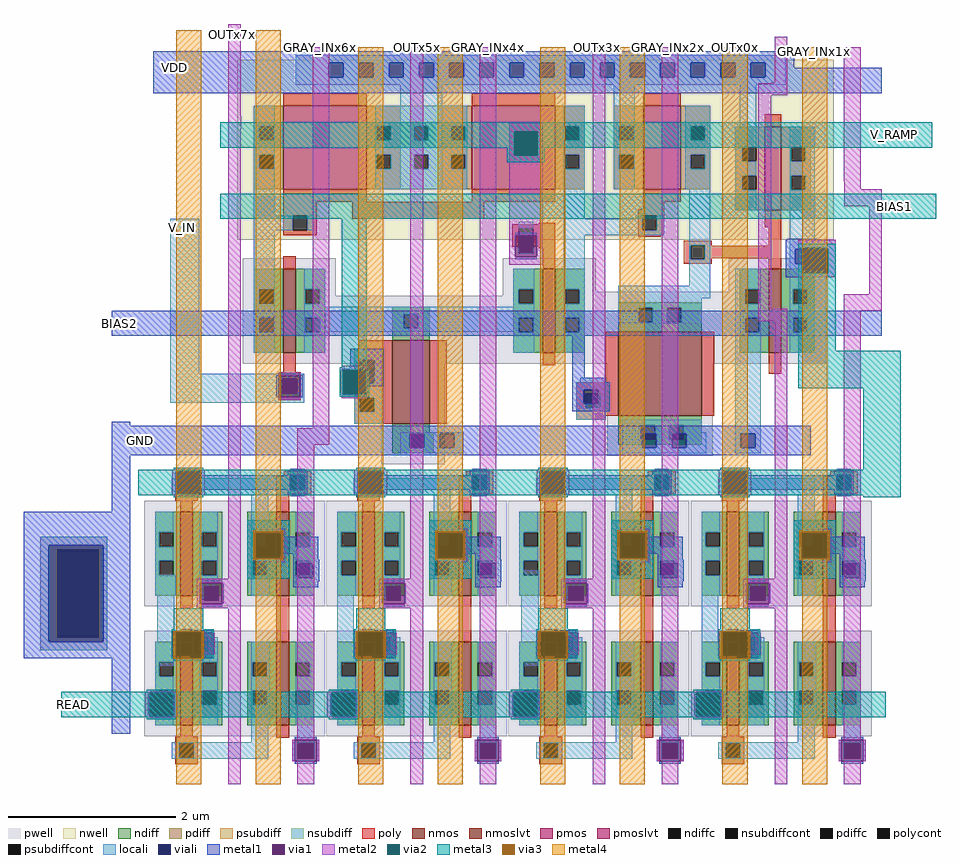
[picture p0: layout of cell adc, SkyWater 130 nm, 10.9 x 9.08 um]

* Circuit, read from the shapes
.subckt adc V_IN BIAS2 GND BIAS1 VDD V_RAMP GRAY_INx1x GRAY_INx0x OUTx1x OUTx0x GRAY_INx2x GRAY_INx3x OUTx3x OUTx2x GRAY_INx4x GRAY_INx5x OUTx5x OUTx4x GRAY_INx6x GRAY_INx7x OUTx7x OUTx6x READ
XM1 OUTx6x 8bit_dram_0/4bit_dram_1/dram_array_1/dram_cell_0/storage READ GND sky130_fd_pr__nfet_01v8 w=1 l=0.15
XM2 OUTx7x 8bit_dram_0/4bit_dram_1/dram_array_1/dram_cell_1/storage READ GND sky130_fd_pr__nfet_01v8 w=1 l=0.15
XM3 GRAY_INx6x 8bit_dram_0/4bit_dram_0/dram_array_0/dram_cell_0/WWL 8bit_dram_0/4bit_dram_1/dram_array_1/dram_cell_0/storage GND sky130_fd_pr__nfet_01v8 w=1 l=0.15
XM4 GRAY_INx7x 8bit_dram_0/4bit_dram_0/dram_array_0/dram_cell_0/WWL 8bit_dram_0/4bit_dram_1/dram_array_1/dram_cell_1/storage GND sky130_fd_pr__nfet_01v8 w=1 l=0.15
XM5 n1 V_IN n2 GND sky130_fd_pr__nfet_01v8_lvt w=1 l=0.15
XM6 OUTx4x 8bit_dram_0/4bit_dram_1/dram_array_0/dram_cell_0/storage READ GND sky130_fd_pr__nfet_01v8 w=1 l=0.15
XM7 OUTx5x 8bit_dram_0/4bit_dram_1/dram_array_0/dram_cell_1/storage READ GND sky130_fd_pr__nfet_01v8 w=1 l=0.15
XM8 n1 BIAS1 GND GND sky130_fd_pr__nfet_01v8 w=0.45 l=1
XM9 GRAY_INx4x 8bit_dram_0/4bit_dram_0/dram_array_0/dram_cell_0/WWL 8bit_dram_0/4bit_dram_1/dram_array_0/dram_cell_0/storage GND sky130_fd_pr__nfet_01v8 w=1 l=0.15
XM10 GRAY_INx5x 8bit_dram_0/4bit_dram_0/dram_array_0/dram_cell_0/WWL 8bit_dram_0/4bit_dram_1/dram_array_0/dram_cell_1/storage GND sky130_fd_pr__nfet_01v8 w=1 l=0.15
XM11 n3 V_RAMP n1 GND sky130_fd_pr__nfet_01v8_lvt w=1 l=0.15
XM12 OUTx2x 8bit_dram_0/4bit_dram_0/dram_array_1/dram_cell_0/storage READ GND sky130_fd_pr__nfet_01v8 w=1 l=0.15
XM13 OUTx3x 8bit_dram_0/4bit_dram_0/dram_array_1/dram_cell_1/storage READ GND sky130_fd_pr__nfet_01v8 w=1 l=0.15
XM14 n4 BIAS2 GND GND sky130_fd_pr__nfet_01v8_lvt w=1 l=1
XM15 GRAY_INx2x 8bit_dram_0/4bit_dram_0/dram_array_0/dram_cell_0/WWL 8bit_dram_0/4bit_dram_0/dram_array_1/dram_cell_0/storage GND sky130_fd_pr__nfet_01v8 w=1 l=0.15
XM16 GRAY_INx3x 8bit_dram_0/4bit_dram_0/dram_array_0/dram_cell_0/WWL 8bit_dram_0/4bit_dram_0/dram_array_1/dram_cell_1/storage GND sky130_fd_pr__nfet_01v8 w=1 l=0.15
XM17 OUTx0x 8bit_dram_0/4bit_dram_0/dram_array_0/dram_cell_0/storage READ GND sky130_fd_pr__nfet_01v8 w=1 l=0.15
XM18 OUTx1x 8bit_dram_0/4bit_dram_0/dram_array_0/dram_cell_1/storage READ GND sky130_fd_pr__nfet_01v8 w=1 l=0.15
XM19 8bit_dram_0/4bit_dram_0/dram_array_0/dram_cell_0/WWL n4 GND GND sky130_fd_pr__nfet_01v8 w=1 l=0.15
XM20 GRAY_INx0x 8bit_dram_0/4bit_dram_0/dram_array_0/dram_cell_0/WWL 8bit_dram_0/4bit_dram_0/dram_array_0/dram_cell_0/storage GND sky130_fd_pr__nfet_01v8 w=1 l=0.15
XM21 GRAY_INx1x 8bit_dram_0/4bit_dram_0/dram_array_0/dram_cell_0/WWL 8bit_dram_0/4bit_dram_0/dram_array_0/dram_cell_1/storage GND sky130_fd_pr__nfet_01v8 w=1 l=0.15
XM22 VDD n2 n2 VDD sky130_fd_pr__pfet_01v8_lvt w=1 l=1
XM23 n3 n2 VDD VDD sky130_fd_pr__pfet_01v8_lvt w=1 l=1
XM24 n4 n3 VDD VDD sky130_fd_pr__pfet_01v8_lvt w=1 l=0.45
XM25 8bit_dram_0/4bit_dram_0/dram_array_0/dram_cell_0/WWL n4 VDD VDD sky130_fd_pr__pfet_01v8 w=1 l=0.2
.ends

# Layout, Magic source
magic
tech sky130B
magscale 1 2
<< nwell >>
rect 960 -1180 2385 -750
<< pwell >>
rect 974 -1314 1196 -1224
rect 1594 -1304 1816 -1224
rect 2134 -1304 2366 -1224
rect 1594 -1314 2366 -1304
rect 974 -1476 2366 -1314
rect 1304 -1716 1456 -1476
rect 1844 -1696 2096 -1476
<< nmos >>
rect 1330 -1620 1420 -1420
rect 2230 -1450 2260 -1250
<< pmos >>
rect 2220 -1110 2260 -910
<< pmoslvt >>
rect 1070 -1060 1270 -860
rect 1520 -1060 1720 -860
rect 1930 -1060 2020 -860
<< nmoslvt >>
rect 1070 -1450 1100 -1250
rect 1690 -1450 1720 -1250
rect 1870 -1600 2070 -1400
<< ndiff >>
rect 1000 -1299 1070 -1250
rect 1000 -1333 1013 -1299
rect 1047 -1333 1070 -1299
rect 1000 -1367 1070 -1333
rect 1000 -1401 1013 -1367
rect 1047 -1401 1070 -1367
rect 1000 -1450 1070 -1401
rect 1100 -1299 1170 -1250
rect 1100 -1333 1123 -1299
rect 1157 -1333 1170 -1299
rect 1100 -1367 1170 -1333
rect 1620 -1299 1690 -1250
rect 1620 -1333 1633 -1299
rect 1667 -1333 1690 -1299
rect 1100 -1401 1123 -1367
rect 1157 -1401 1170 -1367
rect 1100 -1450 1170 -1401
rect 1330 -1358 1420 -1340
rect 1330 -1392 1358 -1358
rect 1392 -1392 1420 -1358
rect 1330 -1420 1420 -1392
rect 1620 -1367 1690 -1333
rect 1620 -1401 1633 -1367
rect 1667 -1401 1690 -1367
rect 1620 -1450 1690 -1401
rect 1720 -1299 1790 -1250
rect 1720 -1333 1743 -1299
rect 1777 -1333 1790 -1299
rect 2160 -1299 2230 -1250
rect 1720 -1367 1790 -1333
rect 1720 -1401 1743 -1367
rect 1777 -1401 1790 -1367
rect 1870 -1343 2070 -1330
rect 1870 -1377 1919 -1343
rect 1953 -1377 1987 -1343
rect 2021 -1377 2070 -1343
rect 1870 -1400 2070 -1377
rect 2160 -1333 2173 -1299
rect 2207 -1333 2230 -1299
rect 2160 -1367 2230 -1333
rect 1720 -1450 1790 -1401
rect 2160 -1401 2173 -1367
rect 2207 -1401 2230 -1367
rect 2160 -1450 2230 -1401
rect 2260 -1299 2340 -1250
rect 2260 -1333 2288 -1299
rect 2322 -1333 2340 -1299
rect 2260 -1367 2340 -1333
rect 2260 -1401 2288 -1367
rect 2322 -1401 2340 -1367
rect 2260 -1450 2340 -1401
rect 1330 -1640 1420 -1620
rect 1870 -1623 2070 -1600
rect 1330 -1643 1430 -1640
rect 1330 -1677 1373 -1643
rect 1407 -1677 1430 -1643
rect 1870 -1657 1924 -1623
rect 1958 -1657 1992 -1623
rect 2026 -1657 2070 -1623
rect 1870 -1670 2070 -1657
rect 1330 -1690 1430 -1677
<< pdiff >>
rect 1000 -909 1070 -860
rect 1000 -943 1013 -909
rect 1047 -943 1070 -909
rect 1000 -977 1070 -943
rect 1000 -1011 1013 -977
rect 1047 -1011 1070 -977
rect 1000 -1060 1070 -1011
rect 1270 -909 1350 -860
rect 1450 -909 1520 -860
rect 1270 -943 1293 -909
rect 1327 -943 1350 -909
rect 1450 -943 1471 -909
rect 1505 -943 1520 -909
rect 1270 -977 1350 -943
rect 1450 -977 1520 -943
rect 1270 -1011 1293 -977
rect 1327 -1011 1350 -977
rect 1450 -1011 1471 -977
rect 1505 -1011 1520 -977
rect 1270 -1060 1350 -1011
rect 1450 -1060 1520 -1011
rect 1720 -909 1790 -860
rect 1720 -943 1743 -909
rect 1777 -943 1790 -909
rect 1720 -977 1790 -943
rect 1720 -1011 1743 -977
rect 1777 -1011 1790 -977
rect 1720 -1060 1790 -1011
rect 1860 -909 1930 -860
rect 1860 -943 1873 -909
rect 1907 -943 1930 -909
rect 1860 -977 1930 -943
rect 1860 -1011 1873 -977
rect 1907 -1011 1930 -977
rect 1860 -1060 1930 -1011
rect 2020 -909 2090 -860
rect 2020 -943 2043 -909
rect 2077 -943 2090 -909
rect 2020 -977 2090 -943
rect 2020 -1011 2043 -977
rect 2077 -1011 2090 -977
rect 2020 -1060 2090 -1011
rect 2150 -959 2220 -910
rect 2150 -993 2166 -959
rect 2200 -993 2220 -959
rect 2150 -1027 2220 -993
rect 2150 -1061 2166 -1027
rect 2200 -1061 2220 -1027
rect 2150 -1110 2220 -1061
rect 2260 -959 2330 -910
rect 2260 -993 2283 -959
rect 2317 -993 2330 -959
rect 2260 -1027 2330 -993
rect 2260 -1061 2283 -1027
rect 2317 -1061 2330 -1027
rect 2260 -1110 2330 -1061
<< ndiffc >>
rect 1013 -1333 1047 -1299
rect 1013 -1401 1047 -1367
rect 1123 -1333 1157 -1299
rect 1633 -1333 1667 -1299
rect 1123 -1401 1157 -1367
rect 1358 -1392 1392 -1358
rect 1633 -1401 1667 -1367
rect 1743 -1333 1777 -1299
rect 1743 -1401 1777 -1367
rect 1919 -1377 1953 -1343
rect 1987 -1377 2021 -1343
rect 2173 -1333 2207 -1299
rect 2173 -1401 2207 -1367
rect 2288 -1333 2322 -1299
rect 2288 -1401 2322 -1367
rect 1373 -1677 1407 -1643
rect 1924 -1657 1958 -1623
rect 1992 -1657 2026 -1623
<< pdiffc >>
rect 1013 -943 1047 -909
rect 1013 -1011 1047 -977
rect 1293 -943 1327 -909
rect 1471 -943 1505 -909
rect 1293 -1011 1327 -977
rect 1471 -1011 1505 -977
rect 1743 -943 1777 -909
rect 1743 -1011 1777 -977
rect 1873 -943 1907 -909
rect 1873 -1011 1907 -977
rect 2043 -943 2077 -909
rect 2043 -1011 2077 -977
rect 2166 -993 2200 -959
rect 2166 -1061 2200 -1027
rect 2283 -993 2317 -959
rect 2283 -1061 2317 -1027
<< psubdiff >>
rect 490 -1920 650 -1890
rect 490 -2130 530 -1920
rect 630 -2130 650 -1920
rect 490 -2160 650 -2130
<< nsubdiff >>
rect 1350 -909 1450 -860
rect 1350 -943 1383 -909
rect 1417 -943 1450 -909
rect 1350 -977 1450 -943
rect 1350 -1011 1383 -977
rect 1417 -1011 1450 -977
rect 1350 -1060 1450 -1011
<< psubdiffcont >>
rect 530 -2130 630 -1920
<< nsubdiffcont >>
rect 1383 -943 1417 -909
rect 1383 -1011 1417 -977
<< poly >>
rect 1070 -860 1270 -830
rect 1520 -860 1720 -830
rect 1930 -860 2020 -830
rect 2220 -910 2260 -880
rect 1070 -1090 1270 -1060
rect 1520 -1090 1720 -1060
rect 1930 -1090 2020 -1060
rect 1070 -1123 1150 -1090
rect 1070 -1157 1093 -1123
rect 1127 -1157 1150 -1123
rect 1235 -1130 1550 -1090
rect 1930 -1107 1980 -1090
rect 1918 -1123 1980 -1107
rect 1680 -1143 1720 -1140
rect 1070 -1170 1150 -1157
rect 1617 -1153 1720 -1143
rect 1617 -1187 1633 -1153
rect 1667 -1187 1720 -1153
rect 1918 -1157 1928 -1123
rect 1962 -1157 1980 -1123
rect 2220 -1150 2260 -1110
rect 1918 -1170 1980 -1157
rect 1918 -1173 1972 -1170
rect 1617 -1197 1720 -1187
rect 1680 -1200 1720 -1197
rect 1070 -1250 1100 -1220
rect 1690 -1250 1720 -1200
rect 2027 -1193 2093 -1183
rect 2027 -1227 2043 -1193
rect 2077 -1195 2093 -1193
rect 2230 -1195 2260 -1150
rect 2077 -1225 2260 -1195
rect 2077 -1227 2093 -1225
rect 2027 -1237 2093 -1227
rect 2230 -1250 2260 -1225
rect 1250 -1440 1330 -1420
rect 1070 -1497 1100 -1450
rect 1240 -1489 1330 -1440
rect 1058 -1513 1112 -1497
rect 1058 -1547 1068 -1513
rect 1102 -1547 1112 -1513
rect 1058 -1563 1112 -1547
rect 1240 -1523 1253 -1489
rect 1287 -1523 1330 -1489
rect 1240 -1557 1330 -1523
rect 1240 -1591 1253 -1557
rect 1287 -1591 1330 -1557
rect 1240 -1620 1330 -1591
rect 1420 -1620 1460 -1420
rect 1690 -1480 1720 -1450
rect 1840 -1520 1870 -1400
rect 1770 -1548 1870 -1520
rect 1770 -1582 1793 -1548
rect 1827 -1582 1870 -1548
rect 1770 -1600 1870 -1582
rect 2070 -1600 2100 -1400
rect 2230 -1500 2260 -1450
rect 1770 -1610 1840 -1600
<< polycont >>
rect 1093 -1157 1127 -1123
rect 1633 -1187 1667 -1153
rect 1928 -1157 1962 -1123
rect 2043 -1227 2077 -1193
rect 1068 -1547 1102 -1513
rect 1253 -1523 1287 -1489
rect 1253 -1591 1287 -1557
rect 1793 -1582 1827 -1548
<< locali >>
rect 1350 -740 1450 -730
rect 1100 -758 2270 -740
rect 1100 -792 1179 -758
rect 1213 -792 1251 -758
rect 1285 -792 1323 -758
rect 1357 -792 1395 -758
rect 1429 -792 1467 -758
rect 1501 -792 1539 -758
rect 1573 -792 1611 -758
rect 1645 -792 1683 -758
rect 1717 -792 1755 -758
rect 1789 -792 1827 -758
rect 1861 -792 1899 -758
rect 1933 -792 1971 -758
rect 2005 -792 2043 -758
rect 2077 -792 2115 -758
rect 2149 -792 2187 -758
rect 2221 -792 2270 -758
rect 1100 -810 2270 -792
rect 1350 -860 1450 -810
rect 1000 -909 1050 -860
rect 1000 -943 1013 -909
rect 1047 -943 1050 -909
rect 1000 -977 1050 -943
rect 1000 -1011 1013 -977
rect 1047 -1011 1050 -977
rect 1000 -1123 1050 -1011
rect 1290 -909 1510 -860
rect 1290 -943 1293 -909
rect 1327 -943 1383 -909
rect 1417 -943 1471 -909
rect 1505 -943 1510 -909
rect 1290 -977 1510 -943
rect 1290 -1011 1293 -977
rect 1327 -1011 1383 -977
rect 1417 -1011 1471 -977
rect 1505 -1011 1510 -977
rect 1290 -1060 1510 -1011
rect 1740 -909 1790 -860
rect 1740 -943 1743 -909
rect 1777 -943 1790 -909
rect 1740 -977 1790 -943
rect 1740 -1011 1743 -977
rect 1777 -1011 1790 -977
rect 800 -1500 870 -1130
rect 1000 -1157 1093 -1123
rect 1127 -1157 1143 -1123
rect 1740 -1130 1790 -1011
rect 1860 -909 1910 -810
rect 1860 -943 1873 -909
rect 1907 -943 1910 -909
rect 1860 -977 1910 -943
rect 1860 -1011 1873 -977
rect 1907 -1011 1910 -977
rect 1860 -1060 1910 -1011
rect 2030 -909 2090 -860
rect 2030 -943 2043 -909
rect 2077 -943 2090 -909
rect 2160 -910 2200 -810
rect 2030 -977 2090 -943
rect 2030 -1011 2043 -977
rect 2077 -1011 2090 -977
rect 2030 -1060 2090 -1011
rect 1912 -1130 1928 -1123
rect 1633 -1153 1667 -1137
rect 1000 -1299 1050 -1157
rect 1740 -1157 1928 -1130
rect 1962 -1130 1978 -1123
rect 1962 -1157 1980 -1130
rect 1740 -1170 1980 -1157
rect 1000 -1333 1013 -1299
rect 1047 -1333 1050 -1299
rect 1000 -1367 1050 -1333
rect 1000 -1401 1013 -1367
rect 1047 -1401 1050 -1367
rect 1000 -1450 1050 -1401
rect 1120 -1299 1170 -1250
rect 1120 -1333 1123 -1299
rect 1157 -1333 1170 -1299
rect 1120 -1340 1170 -1333
rect 1620 -1299 1670 -1250
rect 1620 -1333 1633 -1299
rect 1667 -1333 1670 -1299
rect 1620 -1340 1670 -1333
rect 1120 -1358 1670 -1340
rect 1120 -1367 1358 -1358
rect 1120 -1401 1123 -1367
rect 1157 -1392 1358 -1367
rect 1392 -1367 1670 -1358
rect 1392 -1392 1633 -1367
rect 1157 -1400 1633 -1392
rect 1157 -1401 1170 -1400
rect 1120 -1450 1170 -1401
rect 1620 -1401 1633 -1400
rect 1667 -1401 1670 -1367
rect 1240 -1468 1310 -1440
rect 1620 -1450 1670 -1401
rect 1740 -1299 1790 -1170
rect 2040 -1193 2090 -1060
rect 2150 -959 2200 -910
rect 2150 -993 2166 -959
rect 2150 -1027 2200 -993
rect 2150 -1061 2166 -1027
rect 2150 -1110 2200 -1061
rect 2280 -959 2340 -910
rect 2280 -993 2283 -959
rect 2317 -993 2340 -959
rect 2280 -1027 2340 -993
rect 2280 -1061 2283 -1027
rect 2317 -1061 2340 -1027
rect 2040 -1227 2043 -1193
rect 2077 -1227 2090 -1193
rect 2040 -1290 2090 -1227
rect 2280 -1203 2340 -1061
rect 2280 -1237 2293 -1203
rect 2327 -1237 2340 -1203
rect 1740 -1333 1743 -1299
rect 1777 -1333 1790 -1299
rect 1740 -1367 1790 -1333
rect 1740 -1401 1743 -1367
rect 1777 -1401 1790 -1367
rect 1870 -1320 2090 -1290
rect 2150 -1299 2210 -1250
rect 1870 -1343 2070 -1320
rect 1870 -1377 1919 -1343
rect 1953 -1377 1987 -1343
rect 2021 -1377 2070 -1343
rect 1870 -1380 2070 -1377
rect 2150 -1333 2173 -1299
rect 2207 -1333 2210 -1299
rect 2150 -1367 2210 -1333
rect 1740 -1450 1790 -1401
rect 2150 -1401 2173 -1367
rect 2207 -1401 2210 -1367
rect 800 -1513 1120 -1500
rect 800 -1547 1068 -1513
rect 1102 -1547 1120 -1513
rect 800 -1570 1120 -1547
rect 1240 -1523 1253 -1468
rect 1287 -1523 1310 -1468
rect 1780 -1520 1840 -1510
rect 1240 -1557 1310 -1523
rect 1240 -1591 1253 -1557
rect 1287 -1591 1310 -1557
rect 1240 -1620 1310 -1591
rect 1770 -1538 1840 -1520
rect 1770 -1572 1788 -1538
rect 1822 -1548 1840 -1538
rect 1770 -1582 1793 -1572
rect 1827 -1582 1840 -1548
rect 1770 -1610 1840 -1582
rect 1880 -1623 2070 -1610
rect 1350 -1643 1500 -1640
rect 1350 -1677 1372 -1643
rect 1407 -1677 1444 -1643
rect 1478 -1677 1500 -1643
rect 1350 -1690 1500 -1677
rect 1880 -1657 1924 -1623
rect 1958 -1643 1992 -1623
rect 2026 -1640 2070 -1623
rect 2026 -1643 2080 -1640
rect 1961 -1657 1992 -1643
rect 1880 -1677 1927 -1657
rect 1961 -1677 1999 -1657
rect 2033 -1677 2080 -1643
rect 1880 -1690 2080 -1677
rect 2150 -1643 2210 -1401
rect 2280 -1299 2340 -1237
rect 2280 -1333 2288 -1299
rect 2322 -1333 2340 -1299
rect 2280 -1367 2340 -1333
rect 2280 -1401 2288 -1367
rect 2322 -1401 2340 -1367
rect 2280 -1450 2340 -1401
rect 2150 -1677 2163 -1643
rect 2197 -1677 2210 -1643
rect 2150 -1690 2210 -1677
rect 490 -1910 650 -1890
rect 490 -2140 510 -1910
rect 640 -2140 650 -1910
rect 770 -1981 810 -1980
rect 764 -2030 813 -1981
rect 490 -2160 650 -2140
rect 770 -2150 810 -2030
rect 1640 -2140 1680 -1970
<< viali >>
rect 1179 -792 1213 -758
rect 1251 -792 1285 -758
rect 1323 -792 1357 -758
rect 1395 -792 1429 -758
rect 1467 -792 1501 -758
rect 1539 -792 1573 -758
rect 1611 -792 1645 -758
rect 1683 -792 1717 -758
rect 1755 -792 1789 -758
rect 1827 -792 1861 -758
rect 1899 -792 1933 -758
rect 1971 -792 2005 -758
rect 2043 -792 2077 -758
rect 2115 -792 2149 -758
rect 2187 -792 2221 -758
rect 1633 -1187 1667 -1178
rect 1633 -1212 1667 -1187
rect 2293 -1237 2327 -1203
rect 1068 -1547 1102 -1513
rect 1253 -1489 1287 -1468
rect 1253 -1502 1287 -1489
rect 1788 -1548 1822 -1538
rect 1788 -1572 1793 -1548
rect 1793 -1572 1822 -1548
rect 1372 -1677 1373 -1643
rect 1373 -1677 1406 -1643
rect 1444 -1677 1478 -1643
rect 1927 -1657 1958 -1643
rect 1958 -1657 1961 -1643
rect 1999 -1657 2026 -1643
rect 2026 -1657 2033 -1643
rect 1927 -1677 1961 -1657
rect 1999 -1677 2033 -1657
rect 2163 -1677 2197 -1643
rect 510 -1920 640 -1910
rect 510 -2130 530 -1920
rect 530 -2130 630 -1920
rect 630 -2130 640 -1920
rect 510 -2140 640 -2130
<< metal1 >>
rect 760 -758 2290 -730
rect 760 -792 1179 -758
rect 1213 -792 1251 -758
rect 1285 -792 1323 -758
rect 1357 -792 1395 -758
rect 1429 -792 1467 -758
rect 1501 -792 1539 -758
rect 1573 -792 1611 -758
rect 1645 -792 1683 -758
rect 1717 -792 1755 -758
rect 1789 -792 1827 -758
rect 1861 -792 1899 -758
rect 1933 -792 1971 -758
rect 2005 -792 2043 -758
rect 2077 -792 2115 -758
rect 2149 -792 2187 -758
rect 2221 -770 2290 -758
rect 2221 -792 2500 -770
rect 760 -830 2500 -792
rect 1624 -1169 1676 -1163
rect 2274 -1180 2346 -1178
rect 1624 -1227 1676 -1221
rect 2270 -1199 2390 -1180
rect 2270 -1203 2314 -1199
rect 2270 -1237 2293 -1203
rect 2270 -1251 2314 -1237
rect 2366 -1251 2390 -1199
rect 2270 -1270 2390 -1251
rect 660 -1410 2500 -1350
rect 1230 -1468 1310 -1440
rect 1230 -1488 1253 -1468
rect 1214 -1494 1253 -1488
rect 1062 -1504 1108 -1501
rect 1287 -1502 1310 -1468
rect 1053 -1556 1059 -1504
rect 1111 -1556 1117 -1504
rect 1266 -1530 1310 -1502
rect 1760 -1510 1790 -1410
rect 1760 -1520 1840 -1510
rect 1214 -1552 1266 -1546
rect 1760 -1538 1850 -1520
rect 1062 -1559 1108 -1556
rect 1760 -1572 1788 -1538
rect 1822 -1572 1850 -1538
rect 1760 -1590 1850 -1572
rect 660 -1625 705 -1615
rect 660 -1643 2330 -1625
rect 660 -1677 1372 -1643
rect 1406 -1677 1444 -1643
rect 1478 -1677 1927 -1643
rect 1961 -1677 1999 -1643
rect 2033 -1677 2163 -1643
rect 2197 -1677 2330 -1643
rect 660 -1695 2330 -1677
rect 660 -1830 705 -1695
rect 450 -1910 705 -1830
rect 450 -2140 510 -1910
rect 640 -2140 705 -1910
rect 450 -2180 705 -2140
rect 660 -2360 705 -2180
<< via1 >>
rect 1624 -1178 1676 -1169
rect 1624 -1212 1633 -1178
rect 1633 -1212 1667 -1178
rect 1667 -1212 1676 -1178
rect 1624 -1221 1676 -1212
rect 2314 -1203 2366 -1199
rect 2314 -1237 2327 -1203
rect 2327 -1237 2366 -1203
rect 2314 -1251 2366 -1237
rect 1214 -1502 1253 -1494
rect 1253 -1502 1266 -1494
rect 1059 -1513 1111 -1504
rect 1059 -1547 1068 -1513
rect 1068 -1547 1102 -1513
rect 1102 -1547 1111 -1513
rect 1059 -1556 1111 -1547
rect 1214 -1546 1266 -1502
<< metal2 >>
rect 939 -885 969 -665
rect 939 -915 970 -885
rect 939 -1735 969 -915
rect 1059 -1504 1111 -1498
rect 1059 -1562 1111 -1556
rect 1140 -1630 1180 -720
rect 1210 -1492 1270 -1481
rect 1210 -1494 1212 -1492
rect 1268 -1494 1270 -1492
rect 1208 -1546 1212 -1494
rect 1268 -1546 1272 -1494
rect 1210 -1548 1212 -1546
rect 1268 -1548 1270 -1546
rect 1210 -1559 1270 -1548
rect 1104 -1670 1180 -1630
rect 1104 -1730 1144 -1670
rect 1374 -1735 1404 -720
rect 1539 -1730 1579 -720
rect 1610 -922 1690 -901
rect 1610 -978 1622 -922
rect 1678 -978 1690 -922
rect 1610 -1169 1690 -978
rect 1610 -1221 1624 -1169
rect 1676 -1221 1690 -1169
rect 1610 -1240 1690 -1221
rect 1809 -1725 1839 -720
rect 1974 -1740 2014 -720
rect 2244 -805 2274 -695
rect 2236 -806 2274 -805
rect 2205 -835 2274 -806
rect 2205 -1345 2235 -835
rect 2409 -1040 2449 -720
rect 2410 -1060 2449 -1040
rect 2410 -1100 2500 -1060
rect 2300 -1199 2390 -1180
rect 2300 -1200 2314 -1199
rect 2366 -1200 2390 -1199
rect 2300 -1260 2310 -1200
rect 2370 -1260 2390 -1200
rect 2300 -1270 2390 -1260
rect 2470 -1310 2500 -1100
rect 2205 -1375 2274 -1345
rect 2244 -1735 2274 -1375
rect 2409 -1350 2500 -1310
rect 2409 -1700 2449 -1350
<< via2 >>
rect 1212 -1494 1268 -1492
rect 1212 -1546 1214 -1494
rect 1214 -1546 1266 -1494
rect 1266 -1546 1268 -1494
rect 1212 -1548 1268 -1546
rect 1622 -978 1678 -922
rect 2310 -1251 2314 -1200
rect 2314 -1251 2366 -1200
rect 2366 -1251 2370 -1200
rect 2310 -1260 2370 -1251
<< metal3 >>
rect 920 -922 2620 -900
rect 920 -960 1622 -922
rect 1605 -978 1622 -960
rect 1678 -960 2620 -922
rect 1678 -978 1695 -960
rect 1605 -995 1695 -978
rect 920 -1130 2630 -1070
rect 1210 -1485 1270 -1130
rect 2300 -1200 2390 -1190
rect 2300 -1260 2310 -1200
rect 2370 -1260 2390 -1200
rect 2300 -1445 2390 -1260
rect 1205 -1492 1275 -1485
rect 1205 -1548 1212 -1492
rect 1268 -1548 1275 -1492
rect 2300 -1535 2545 -1445
rect 1205 -1555 1275 -1548
rect 2455 -1795 2545 -1535
rect 540 -2320 2500 -2260
<< metal4 >>
rect 814 -1750 874 -680
rect 1004 -1740 1064 -680
rect 1249 -1740 1309 -720
rect 1439 -1740 1499 -720
rect 1684 -1740 1744 -720
rect 1874 -1740 1934 -720
rect 2119 -1740 2179 -720
rect 2309 -1740 2369 -720
use 8bit_dram  8bit_dram_0
transform -1 0 2469 0 -1 -1700
box -70 -20 1745 780
<< labels >>
rlabel locali 830 -1150 830 -1150 1 V_IN
port 1 n
rlabel metal1 680 -1380 680 -1380 1 BIAS2
port 2 n
rlabel metal1 730 -1660 730 -1660 1 GND
port 3 n
rlabel metal3 2530 -1100 2530 -1100 1 BIAS1
port 4 n
rlabel metal1 810 -770 810 -770 1 VDD
port 5 n
rlabel metal3 2530 -930 2530 -930 1 V_RAMP
port 6 n
rlabel metal4 2340 -730 2340 -730 1 GRAY_INx1x
port 7 n
rlabel metal2 2430 -730 2430 -730 1 GRAY_INx0x
port 8 n
rlabel metal2 2260 -710 2260 -710 1 OUTx1x
port 9 n
rlabel metal4 2150 -720 2150 -720 1 OUTx0x
port 10 n
rlabel metal2 1990 -720 1990 -720 1 GRAY_INx2x
port 11 n
rlabel metal4 1900 -720 1900 -720 1 GRAY_INx3x
port 12 n
rlabel metal2 1820 -720 1820 -720 1 OUTx3x
port 13 n
rlabel metal4 1710 -720 1710 -720 1 OUTx2x
port 14 n
rlabel metal2 1560 -720 1560 -720 1 GRAY_INx4x
port 15 n
rlabel metal4 1470 -720 1470 -720 1 GRAY_INx5x
port 16 n
rlabel metal2 1390 -720 1390 -720 1 OUTx5x
port 17 n
rlabel metal4 1280 -720 1280 -720 1 OUTx4x
port 18 n
rlabel metal2 1160 -720 1160 -720 1 GRAY_INx6x
port 19 n
rlabel metal4 1030 -700 1030 -700 1 GRAY_INx7x
port 20 n
rlabel metal2 950 -690 950 -690 1 OUTx7x
port 21 n
rlabel metal4 840 -700 840 -700 1 OUTx6x
port 22 n
rlabel metal3 570 -2290 570 -2290 1 READ
port 23 n
<< end >>

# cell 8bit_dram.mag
magic
tech sky130B
magscale 1 2
<< locali >>
rect 790 290 830 498
rect 1660 290 1700 498
use 4bit_dram  4bit_dram_0
transform 1 0 -10 0 1 -110
box -60 90 885 890
use 4bit_dram  4bit_dram_1
transform 1 0 860 0 1 -110
box -60 90 885 890
<< end >>

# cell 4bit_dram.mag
magic
tech sky130B
magscale 1 2
<< locali >>
rect 370 440 410 550
use dram_array  dram_array_0
transform 1 0 30 0 1 520
box -90 -430 420 370
use dram_array  dram_array_1
transform 1 0 465 0 1 520
box -90 -430 420 370
<< end >>

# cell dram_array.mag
magic
tech sky130B
magscale 1 2
<< poly >>
rect 60 -65 90 30
rect 60 -323 90 -280
rect 7 -333 90 -323
rect 7 -367 23 -333
rect 57 -365 90 -333
rect 57 -367 73 -365
rect 7 -377 73 -367
<< polycont >>
rect 23 -367 57 -333
<< locali >>
rect 0 307 40 310
rect 0 273 3 307
rect 37 273 40 307
rect 0 210 40 273
rect 350 197 380 230
rect 350 115 380 163
rect 230 20 253 50
rect 0 -123 40 -80
rect 0 -157 3 -123
rect 37 -157 40 -123
rect 0 -160 40 -157
rect 0 -280 40 -260
rect 23 -333 57 -317
rect 23 -383 57 -367
<< viali >>
rect 3 273 37 307
rect 348 163 382 197
rect 253 18 287 52
rect 228 -102 262 -68
rect 3 -157 37 -123
rect 23 -367 57 -333
<< metal1 >>
rect -6 316 46 322
rect -12 264 -6 316
rect 46 264 52 316
rect -6 258 46 264
rect 342 206 388 209
rect 333 154 339 206
rect 391 154 397 206
rect 342 151 388 154
rect 244 61 296 67
rect 244 3 296 9
rect 219 -59 271 -53
rect -10 -114 50 -100
rect 216 -108 219 -62
rect -12 -123 50 -114
rect 271 -108 274 -62
rect 219 -117 271 -111
rect -12 -157 3 -123
rect 37 -157 50 -123
rect -12 -166 50 -157
rect -10 -180 50 -166
rect 78 -180 84 -174
rect -10 -220 84 -180
rect 78 -226 84 -220
rect 136 -226 142 -174
rect 17 -333 63 -321
rect 268 -333 274 -324
rect 17 -367 23 -333
rect 57 -367 274 -333
rect 17 -379 63 -367
rect 268 -376 274 -367
rect 326 -376 332 -324
<< via1 >>
rect -6 307 46 316
rect -6 273 3 307
rect 3 273 37 307
rect 37 273 46 307
rect -6 264 46 273
rect 339 197 391 206
rect 339 163 348 197
rect 348 163 382 197
rect 382 163 391 197
rect 339 154 391 163
rect 244 52 296 61
rect 244 18 253 52
rect 253 18 287 52
rect 287 18 296 52
rect 244 9 296 18
rect 219 -68 271 -59
rect 219 -102 228 -68
rect 228 -102 262 -68
rect 262 -102 271 -68
rect 219 -111 271 -102
rect 84 -226 136 -174
rect 274 -376 326 -324
<< metal2 >>
rect 0 316 40 370
rect -12 264 -6 316
rect 46 264 52 316
rect 0 -430 40 264
rect 175 -50 205 370
rect 339 210 391 212
rect 326 208 404 210
rect 326 152 337 208
rect 393 152 404 208
rect 326 150 404 152
rect 339 148 391 150
rect 261 63 339 65
rect 261 61 272 63
rect 238 9 244 61
rect 261 7 272 9
rect 328 7 339 63
rect 261 5 339 7
rect 175 -59 280 -50
rect 175 -111 219 -59
rect 271 -111 280 -59
rect 175 -120 280 -111
rect 70 -172 140 -160
rect 70 -228 82 -172
rect 138 -228 140 -172
rect 70 -240 140 -228
rect 175 -430 205 -120
rect 274 -320 326 -318
rect 261 -322 339 -320
rect 261 -378 272 -322
rect 328 -378 339 -322
rect 261 -380 339 -378
rect 274 -382 326 -380
<< via2 >>
rect 337 206 393 208
rect 337 154 339 206
rect 339 154 391 206
rect 391 154 393 206
rect 337 152 393 154
rect 272 61 328 63
rect 272 9 296 61
rect 296 9 328 61
rect 272 7 328 9
rect 82 -174 138 -172
rect 82 -226 84 -174
rect 84 -226 136 -174
rect 136 -226 138 -174
rect 82 -228 138 -226
rect 272 -324 328 -322
rect 272 -376 274 -324
rect 274 -376 326 -324
rect 326 -376 328 -324
rect 272 -378 328 -376
<< metal3 >>
rect 330 210 400 215
rect -60 208 420 210
rect -60 152 337 208
rect 393 152 420 208
rect -60 150 420 152
rect 330 145 400 150
rect 265 70 335 76
rect 240 6 268 70
rect 332 6 340 70
rect 240 0 340 6
rect 265 -50 335 0
rect 60 -168 160 -120
rect 60 -232 78 -168
rect 142 -232 160 -168
rect 60 -260 160 -232
rect 265 -320 335 -315
rect -90 -322 420 -320
rect -90 -378 272 -322
rect 328 -378 420 -322
rect -90 -380 420 -378
rect 265 -385 335 -380
<< via3 >>
rect 268 63 332 70
rect 268 7 272 63
rect 272 7 328 63
rect 328 7 332 63
rect 268 6 332 7
rect 78 -172 142 -168
rect 78 -228 82 -172
rect 82 -228 138 -172
rect 138 -228 142 -172
rect 78 -232 142 -228
<< metal4 >>
rect 80 -164 140 370
rect 270 71 330 370
rect 264 70 336 71
rect 264 6 268 70
rect 332 6 336 70
rect 264 5 336 6
rect 74 -168 146 -164
rect 74 -232 78 -168
rect 142 -232 146 -168
rect 74 -236 146 -232
rect 80 -430 140 -236
rect 270 -430 330 5
use dram_cell  dram_cell_0
transform 1 0 40 0 1 100
box -66 -100 366 223
use dram_cell  dram_cell_1
transform 1 0 40 0 -1 -150
box -66 -100 366 223
<< end >>

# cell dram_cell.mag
magic
tech sky130B
magscale 1 2
<< pwell >>
rect -66 -96 366 156
<< nmos >>
rect 20 -70 50 130
rect 250 -70 280 130
<< ndiff >>
rect -40 81 20 130
rect -40 47 -30 81
rect 4 47 20 81
rect -40 13 20 47
rect -40 -21 -30 13
rect 4 -21 20 13
rect -40 -70 20 -21
rect 50 81 120 130
rect 50 47 73 81
rect 107 47 120 81
rect 50 13 120 47
rect 50 -21 73 13
rect 107 -21 120 13
rect 50 -70 120 -21
rect 180 81 250 130
rect 180 47 193 81
rect 227 47 250 81
rect 180 13 250 47
rect 180 -21 193 13
rect 227 -21 250 13
rect 180 -70 250 -21
rect 280 81 340 130
rect 280 47 296 81
rect 330 47 340 81
rect 280 13 340 47
rect 280 -21 296 13
rect 330 -21 340 13
rect 280 -70 340 -21
<< ndiffc >>
rect -30 47 4 81
rect -30 -21 4 13
rect 73 47 107 81
rect 73 -21 107 13
rect 193 47 227 81
rect 193 -21 227 13
rect 296 47 330 81
rect 296 -21 330 13
<< poly >>
rect 238 207 292 223
rect 238 173 248 207
rect 282 173 292 207
rect 20 130 50 160
rect 238 157 292 173
rect 250 130 280 157
rect 20 -100 50 -70
rect 250 -100 280 -70
<< polycont >>
rect 248 173 282 207
<< locali >>
rect 70 207 300 210
rect 70 173 248 207
rect 282 173 300 207
rect 70 170 300 173
rect 70 130 110 170
rect -40 81 4 130
rect -40 47 -30 81
rect -40 13 4 47
rect -40 -21 -30 13
rect -40 -70 4 -21
rect 66 81 110 130
rect 66 47 73 81
rect 107 47 110 81
rect 66 13 110 47
rect 66 -21 73 13
rect 107 -21 110 13
rect 66 -70 110 -21
rect 190 81 234 130
rect 190 47 193 81
rect 227 47 234 81
rect 190 13 234 47
rect 190 -21 193 13
rect 227 -21 234 13
rect 190 -70 234 -21
rect 296 81 340 130
rect 330 47 340 81
rect 296 13 340 47
rect 330 -21 340 13
rect 296 -70 340 -21
rect 190 -80 230 -70
<< labels >>
rlabel locali s 132 186 132 186 4 storage
port 1 nsew
rlabel poly s 33 154 33 154 4 WWL
port 2 nsew
rlabel locali s -37 119 -37 119 4 WBL
port 3 nsew
rlabel locali s 322 -60 322 -60 4 RWL
port 4 nsew
rlabel locali s 216 -74 216 -74 4 RBL
port 5 nsew
<< end >>
